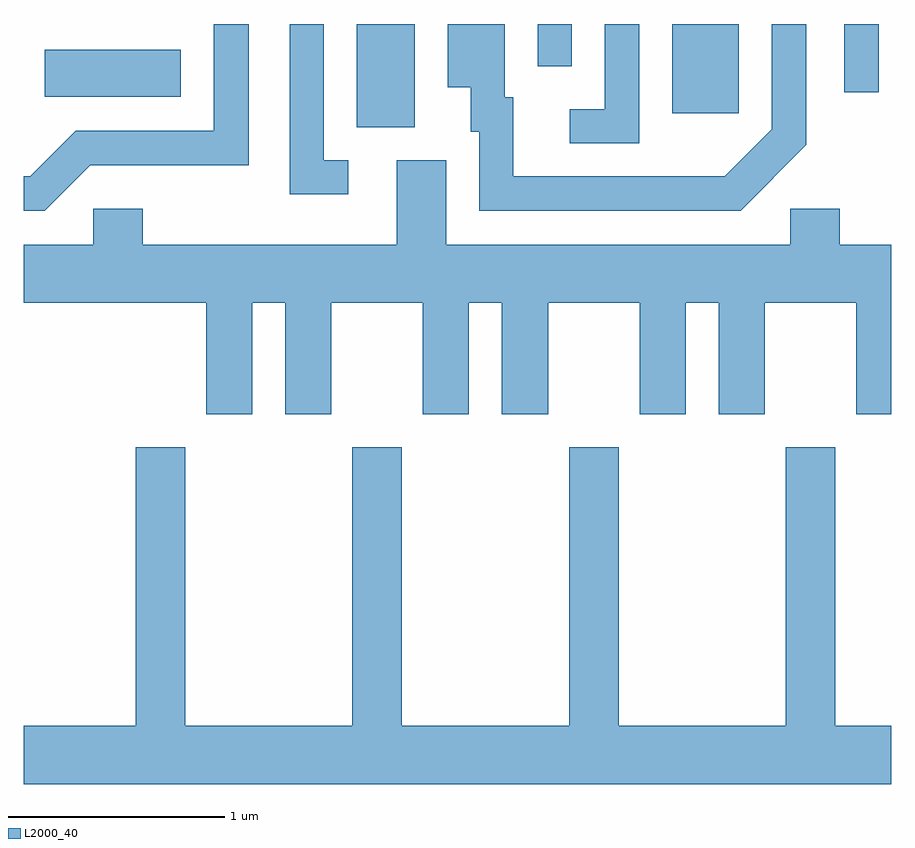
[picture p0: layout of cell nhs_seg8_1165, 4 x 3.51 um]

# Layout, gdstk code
import gdstk
lib = gdstk.Library(unit=1e-6, precision=1e-09)
def R(c, l, rs):  # rectangles x0, y0, x1, y1
    for r in rs: c.add(gdstk.rectangle(r[:2], r[2:], *l))
def P(c, l, *ps):  # polygons
    for p in ps: c.add(gdstk.Polygon(p, *l))
L2000_40 = (2000, 40)

nhs_seg8_1165 = lib.new_cell('nhs_seg8_1165')
R(nhs_seg8_1165, L2000_40, [(221.146,1863.866,221.414,1864.342), (222.601,1863.931,222.909,1864.342), (219.706,1864.006,220.334,1864.224), (223.396,1864.028,223.554,1864.342), (221.981,1864.148,222.139,1864.342)])
P(nhs_seg8_1165, L2000_40, [(219.917,1863.691),(220.649,1863.691),(220.649,1864.342),(220.486,1864.342),(220.486,1863.849),(219.849,1863.849),(219.639,1863.639),(219.611,1863.639),(219.611,1863.481),(219.707,1863.481)],
  [(221.108,1863.714),(220.994,1863.714),(220.994,1864.342),(220.836,1864.342),(220.836,1863.556),(221.108,1863.556)],
  [(223.219,1863.784),(223.219,1864.342),(223.061,1864.342),(223.061,1863.857),(222.844,1863.639),(221.869,1863.639),(221.869,1864.004),(221.829,1864.004),(221.829,1864.342),(221.566,1864.342),(221.566,1864.051),(221.671,1864.051),(221.671,1863.846),(221.711,1863.846),(221.711,1863.481),(222.917,1863.481)],
  [(222.449,1864.342),(222.291,1864.342),(222.291,1863.949),(222.128,1863.949),(222.128,1863.791),(222.449,1863.791)],
  [(220.664,1863.056),(220.816,1863.056),(220.816,1862.541),(221.029,1862.541),(221.029,1863.056),(221.451,1863.056),(221.451,1862.541),(221.664,1862.541),(221.664,1863.056),(221.816,1863.056),(221.816,1862.541),(222.029,1862.541),(222.029,1863.056),(222.451,1863.056),(222.451,1862.541),(222.664,1862.541),(222.664,1863.056),(222.816,1863.056),(222.816,1862.541),(223.029,1862.541),(223.029,1863.056),(223.451,1863.056),(223.451,1862.541),(223.611,1862.541),(223.611,1863.324),(223.374,1863.324),(223.374,1863.489),(223.146,1863.489),(223.146,1863.324),(221.559,1863.324),(221.559,1863.714),(221.331,1863.714),(221.331,1863.324),(220.159,1863.324),(220.159,1863.489),(219.931,1863.489),(219.931,1863.324),(219.611,1863.324),(219.611,1863.056),(220.451,1863.056),(220.451,1862.541),(220.664,1862.541)],
  [(223.611,1861.104),(223.354,1861.104),(223.354,1862.389),(223.126,1862.389),(223.126,1861.104),(222.354,1861.104),(222.354,1862.389),(222.126,1862.389),(222.126,1861.104),(221.354,1861.104),(221.354,1862.389),(221.126,1862.389),(221.126,1861.104),(220.354,1861.104),(220.354,1862.389),(220.126,1862.389),(220.126,1861.104),(219.611,1861.104),(219.611,1860.836),(223.611,1860.836)])

lib.write_gds('nhs_seg8_1165.gds')
